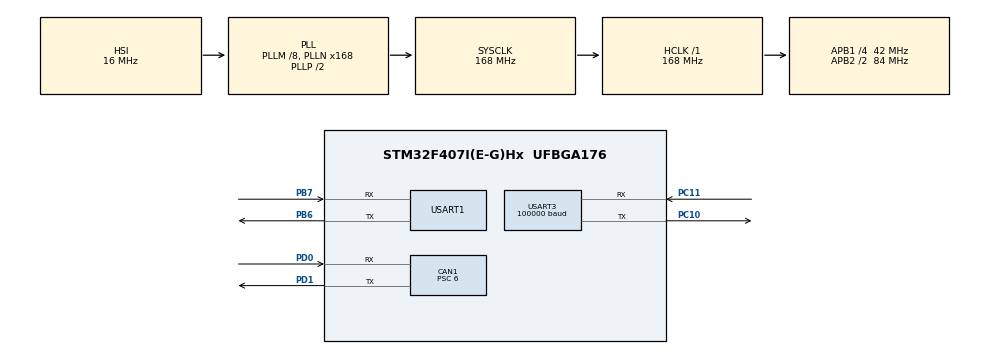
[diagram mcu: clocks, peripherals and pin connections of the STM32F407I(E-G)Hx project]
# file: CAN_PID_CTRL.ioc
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CAN1.BS1=CAN_BS1_3TQ
CAN1.BS2=CAN_BS2_3TQ
CAN1.CalculateBaudRate=1000000
CAN1.CalculateTimeBit=1000
CAN1.CalculateTimeQuantum=142.85714285714286
CAN1.Prescaler=6
Dma.Request0=USART3_RX
Dma.Request1=USART3_TX
Dma.Request2=USART1_RX
Dma.Request3=USART1_TX
Dma.USART1_RX.2.Direction=DMA_PERIPH_TO_MEMORY
Dma.USART1_RX.2.FIFOMode=DMA_FIFOMODE_DISABLE
Dma.USART1_RX.2.Instance=DMA2_Stream2
Dma.USART1_RX.2.MemDataAlignment=DMA_MDATAALIGN_BYTE
Dma.USART1_RX.2.MemInc=DMA_MINC_ENABLE
Dma.USART1_RX.2.Mode=DMA_CIRCULAR
Dma.USART1_RX.2.PeriphDataAlignment=DMA_PDATAALIGN_BYTE
Dma.USART1_RX.2.PeriphInc=DMA_PINC_DISABLE
Dma.USART1_RX.2.Priority=DMA_PRIORITY_LOW
Dma.USART1_TX.3.Direction=DMA_MEMORY_TO_PERIPH
Dma.USART1_TX.3.FIFOMode=DMA_FIFOMODE_DISABLE
Dma.USART1_TX.3.Instance=DMA2_Stream7
Dma.USART1_TX.3.MemDataAlignment=DMA_MDATAALIGN_BYTE
Dma.USART1_TX.3.MemInc=DMA_MINC_ENABLE
Dma.USART1_TX.3.Mode=DMA_NORMAL
Dma.USART1_TX.3.PeriphDataAlignment=DMA_PDATAALIGN_BYTE
Dma.USART1_TX.3.PeriphInc=DMA_PINC_DISABLE
Dma.USART1_TX.3.Priority=DMA_PRIORITY_LOW
Dma.USART3_RX.0.Direction=DMA_PERIPH_TO_MEMORY
Dma.USART3_RX.0.FIFOMode=DMA_FIFOMODE_DISABLE
Dma.USART3_RX.0.Instance=DMA1_Stream1
Dma.USART3_RX.0.MemDataAlignment=DMA_MDATAALIGN_BYTE
Dma.USART3_RX.0.MemInc=DMA_MINC_ENABLE
Dma.USART3_RX.0.Mode=DMA_CIRCULAR
Dma.USART3_RX.0.PeriphDataAlignment=DMA_PDATAALIGN_BYTE
Dma.USART3_RX.0.PeriphInc=DMA_PINC_DISABLE
Dma.USART3_RX.0.Priority=DMA_PRIORITY_LOW
Dma.USART3_TX.1.Direction=DMA_MEMORY_TO_PERIPH
Dma.USART3_TX.1.FIFOMode=DMA_FIFOMODE_DISABLE
Dma.USART3_TX.1.Instance=DMA1_Stream3
Dma.USART3_TX.1.MemDataAlignment=DMA_MDATAALIGN_BYTE
Dma.USART3_TX.1.MemInc=DMA_MINC_ENABLE
Dma.USART3_TX.1.Mode=DMA_NORMAL
Dma.USART3_TX.1.PeriphDataAlignment=DMA_PDATAALIGN_BYTE
Dma.USART3_TX.1.PeriphInc=DMA_PINC_DISABLE
Dma.USART3_TX.1.Priority=DMA_PRIORITY_LOW
Mcu.Family=STM32F4
Mcu.Name=STM32F407I(E-G)Hx
Mcu.Package=UFBGA176
NVIC.CAN1_RX0_IRQn=true\:1\:0\:true\:false\:true\:true\:true\:true
NVIC.DMA1_Stream1_IRQn=true\:0\:0\:false\:false\:true\:false\:true\:true
NVIC.DMA1_Stream3_IRQn=true\:0\:0\:false\:false\:true\:false\:true\:true
NVIC.DMA2_Stream2_IRQn=true\:0\:0\:false\:false\:true\:false\:true\:true
NVIC.DMA2_Stream7_IRQn=true\:0\:0\:false\:false\:true\:false\:true\:true
NVIC.PriorityGroup=NVIC_PRIORITYGROUP_4
NVIC.USART1_IRQn=true\:2\:0\:true\:false\:true\:true\:true\:true
NVIC.USART3_IRQn=true\:0\:0\:false\:false\:true\:true\:true\:true
PA13.Mode=Serial_Wire
PA13.Signal=SYS_JTMS-SWDIO
PA14.Mode=Serial_Wire
PA14.Signal=SYS_JTCK-SWCLK
PB6.Mode=Asynchronous
PB6.Signal=USART1_TX
PB7.Mode=Asynchronous
PB7.Signal=USART1_RX
PC10.Mode=Asynchronous
PC10.Signal=USART3_TX
PC11.Mode=Asynchronous
PC11.Signal=USART3_RX
PD0.Mode=CAN_Activate
PD0.Signal=CAN1_RX
PD1.Mode=CAN_Activate
PD1.Signal=CAN1_TX
PH0-OSC_IN.Mode=HSE-External-Oscillator
PH0-OSC_IN.Signal=RCC_OSC_IN
PH1-OSC_OUT.Mode=HSE-External-Oscillator
PH1-OSC_OUT.Signal=RCC_OSC_OUT
ProjectManager.HeapSize=0x200
ProjectManager.StackSize=0x400
ProjectManager.TargetToolchain=MDK-ARM V5.32
RCC.48MHZClocksFreq_Value=84000000
RCC.AHBFreq_Value=168000000
RCC.APB1CLKDivider=RCC_HCLK_DIV4
RCC.APB1Freq_Value=42000000
RCC.APB1TimFreq_Value=84000000
RCC.APB2CLKDivider=RCC_HCLK_DIV2
RCC.APB2Freq_Value=84000000
RCC.APB2TimFreq_Value=168000000
RCC.CortexFreq_Value=168000000
RCC.HCLKFreq_Value=168000000
RCC.HSE_VALUE=12000000
RCC.HSI_VALUE=16000000
RCC.LSE_VALUE=32768
RCC.PLLM=8
RCC.PLLN=168
RCC.SYSCLKFreq_VALUE=168000000
RCC.SYSCLKSource=RCC_SYSCLKSOURCE_PLLCLK
RCC.VCOOutputFreq_Value=336000000
USART1.VirtualMode=VM_ASYNC
USART3.BaudRate=100000
USART3.Parity=PARITY_EVEN
USART3.VirtualMode=VM_ASYNC
USART3.WordLength=WORDLENGTH_9B
board=custom

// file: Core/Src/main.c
/* USER CODE BEGIN Header */
/**
  ******************************************************************************
  * @file           : main.c
  * @brief          : Main program body
  ******************************************************************************
  * @attention
  *
  * Copyright (c) 2026 STMicroelectronics.
  * All rights reserved.
  *
  * This software is licensed under terms that can be found in the LICENSE file
  * in the root directory of this software component.
  * If no LICENSE file comes with this software, it is provided AS-IS.
  *
  ******************************************************************************
  */
/* USER CODE END Header */
#include "main.h"
#include "can.h"
#include "dma.h"
#include "usart.h"
#include "gpio.h"

/* USER CODE BEGIN Includes */
#include "can_receive.h"
#include "pid.h"
#include "sbus.h"
#include "struct_typedef.h"
#include "bsp_can.h"
/* USER CODE END Includes */

/* USER CODE BEGIN PD */
#define MAX_OUT ((fp32)16000)
#define MAX_IOUT ((fp32)3000)
/* USER CODE END PD */

/* USER CODE BEGIN PV */
fp32 motor1,motor2,motor3,motor4;
int16_t out_put_c[4];
pid_type_def pid;
/* USER CODE END PV */

void SystemClock_Config(void);

/* USER CODE BEGIN 0 */
void out_set(int16_t *output_c)
{
  output_c[0] = PID_calc(&pid,motor1,set_speed[0]);
  output_c[1] = PID_calc(&pid,motor2,set_speed[1]);
  output_c[2] = PID_calc(&pid,motor3,set_speed[2]);
  output_c[3] = PID_calc(&pid,motor4,set_speed[3]);
}
/* USER CODE END 0 */

int main(void)
{

  /* MCU Configuration--------------------------------------------------------*/

  /* Reset of all peripherals, Initializes the Flash interface and the Systick. */
  HAL_Init();

  /* Configure the system clock */
  SystemClock_Config();

  /* Initialize all configured peripherals */
  MX_GPIO_Init();
  MX_DMA_Init();
  MX_CAN1_Init();
  MX_USART1_UART_Init();
  MX_USART3_UART_Init();
  /* USER CODE BEGIN 2 */
  HAL_UART_Receive_DMA(&huart1,receive_o,9);
  HAL_UART_Receive_DMA(&huart3,sbus_data, 25);
  PID_init(&pid,PID_POSITION,PID,MAX_OUT,MAX_IOUT);
  can_filter_init();
  uint32_t last_time = HAL_GetTick();
  /* USER CODE END 2 */

  /* Infinite loop */
  /* USER CODE BEGIN WHILE */
  while (1)
  {
    if (HAL_GetTick() - last_time >= 10)
    {
      last_time += 10; // 更新时间戳
      motor1 = get_chassis_motor_measure_point(0) -> speed_rpm;
      motor2 = get_chassis_motor_measure_point(1) -> speed_rpm;
      motor3 = get_chassis_motor_measure_point(2) -> speed_rpm;
      motor4 = get_chassis_motor_measure_point(3) -> speed_rpm;
      //电机控制（100Hz）
      out_set(out_put_c);
      uint32_t can_send_status = CAN_cmd_chassis(out_put_c[0],out_put_c[1],out_put_c[2],out_put_c[3]);
      if (can_send_status != HAL_OK)
      {
        uint8_t error[] = "Transmit Failed!\r\n";
        uint16_t error_len = sizeof(error) - 1;//除去/0
        HAL_UART_Transmit_DMA(&huart1,error,error_len);// 发送失败
      }
      udata(0);
    }
    /* USER CODE END WHILE */

  }
}

void SystemClock_Config(void)
{
  RCC_OscInitTypeDef RCC_OscInitStruct = {0};
  RCC_ClkInitTypeDef RCC_ClkInitStruct = {0};

  /** Configure the main internal regulator output voltage
  */
  __HAL_RCC_PWR_CLK_ENABLE();
  __HAL_PWR_VOLTAGESCALING_CONFIG(PWR_REGULATOR_VOLTAGE_SCALE1);

  /** Initializes the RCC Oscillators according to the specified parameters
  * in the RCC_OscInitTypeDef structure.
  */
  RCC_OscInitStruct.OscillatorType = RCC_OSCILLATORTYPE_HSI;
  RCC_OscInitStruct.HSIState = RCC_HSI_ON;
  RCC_OscInitStruct.HSICalibrationValue = RCC_HSICALIBRATION_DEFAULT;
  RCC_OscInitStruct.PLL.PLLState = RCC_PLL_ON;
  RCC_OscInitStruct.PLL.PLLSource = RCC_PLLSOURCE_HSI;
  RCC_OscInitStruct.PLL.PLLM = 8;
  RCC_OscInitStruct.PLL.PLLN = 168;
  RCC_OscInitStruct.PLL.PLLP = RCC_PLLP_DIV2;
  RCC_OscInitStruct.PLL.PLLQ = 4;
  if (HAL_RCC_OscConfig(&RCC_OscInitStruct) != HAL_OK)
  {
    Error_Handler();
  }

  /** Initializes the CPU, AHB and APB buses clocks
  */
  RCC_ClkInitStruct.ClockType = RCC_CLOCKTYPE_HCLK|RCC_CLOCKTYPE_SYSCLK
                              |RCC_CLOCKTYPE_PCLK1|RCC_CLOCKTYPE_PCLK2;
  RCC_ClkInitStruct.SYSCLKSource = RCC_SYSCLKSOURCE_PLLCLK;
  RCC_ClkInitStruct.AHBCLKDivider = RCC_SYSCLK_DIV1;
  RCC_ClkInitStruct.APB1CLKDivider = RCC_HCLK_DIV4;
  RCC_ClkInitStruct.APB2CLKDivider = RCC_HCLK_DIV2;

  if (HAL_RCC_ClockConfig(&RCC_ClkInitStruct, FLASH_LATENCY_5) != HAL_OK)
  {
    Error_Handler();
  }
}

void Error_Handler(void)
{
  __disable_irq();
  while (1)
  {
  }
}
